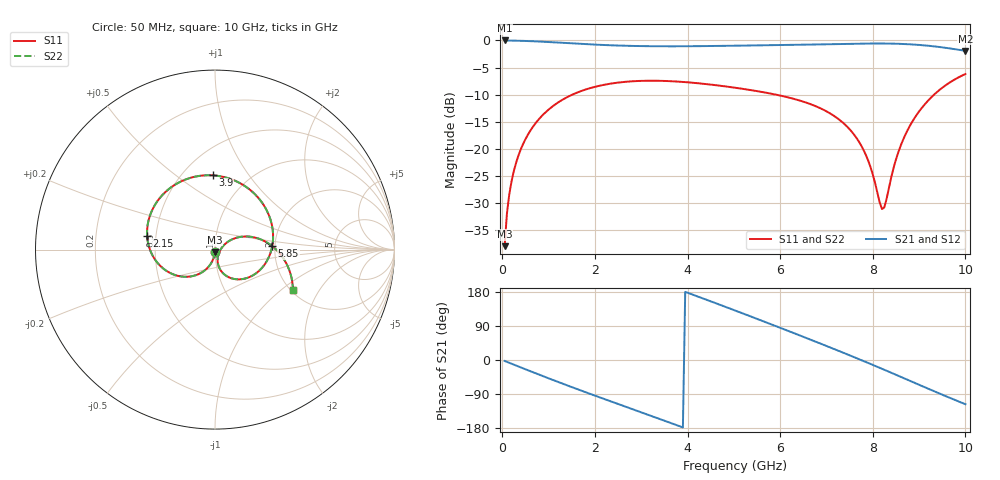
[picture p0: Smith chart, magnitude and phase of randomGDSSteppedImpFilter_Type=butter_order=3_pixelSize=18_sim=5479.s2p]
! freq	dB(S11)	phase(S11)	dB(S12)	phase(S12)
!  dB(S21)	phase(S21)	dB(S22)	phase(S22)
!S-par simulation data
#  GHz  S  DB  R 50
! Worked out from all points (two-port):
!   200 points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, 50 MHz to 10 GHz, reference 50 ohm
!   highest |S21| = 0.00 dB at 50 MHz (marker M1); lowest = -1.9 dB at 10 GHz (marker M2)
!   |S21| within 3 dB of the highest: start of sweep to end of sweep
!   lowest |S11| = -38.0 dB at 50 MHz (marker M3), VSWR 1.03, Z = 49.9 - j1.26 ohm
!   |S11| at or under -10 dB: start of sweep to 1.515 GHz; 5.902 GHz to 9.326 GHz (3.424 GHz wide, 45 % of centre)
!   |S22| runs from -38.0 to -6.2 dB; largest |S21 - S12| = 0
!   S11 on the Smith chart (normalised r, x): 50 MHz: 1.00, -0.03; 2.15 GHz: 0.45, +0.08; 3.9 GHz: 0.69, +0.69; 5.85 GHz: 1.93, +0.08; 10 GHz: 2.05, -1.21
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0.05  -38.00 -92.3  -0.00 -2.5  -0.00 -2.5  -38.00 -92.3
0.1  -31.99 -95.0  -0.01 -5.0  -0.01 -5.0  -31.99 -95.0
0.2  -26.01 -100.0  -0.03 -9.9  -0.03 -9.9  -26.01 -100.0
0.5  -18.24 -114.9  -0.10 -24.5  -0.10 -24.5  -18.24 -114.9
1.15  -11.77 -146.0  -0.36 -55.4  -0.36 -55.4  -11.77 -145.9
1.75  -9.20 -173.5  -0.66 -82.8  -0.66 -82.8  -9.20 -173.5
2.15  -8.28 168.6  -0.83 -100.7  -0.83 -100.7  -8.27 168.7
2.75  -7.58 142.2  -1.00 -127.1  -1.00 -127.1  -7.58 142.3
3.4  -7.46 113.7  -1.08 -155.7  -1.08 -155.7  -7.46 113.8
3.9  -7.67 91.6  -1.08 -178.0  -1.08 -178.0  -7.67 91.6
4.45  -8.11 66.9  -1.04 157.2  -1.04 157.2  -8.11 67.0
5.05  -8.76 39.8  -0.97 129.6  -0.97 129.6  -8.76 39.9
5.85  -9.91 3.4  -0.87 92.1  -0.87 92.1  -9.91 3.5
6.7  -11.91 -34.9  -0.75 51.6  -0.75 51.6  -11.91 -34.8
7.65  -18.03 -73.8  -0.60 4.9  -0.60 4.9  -18.03 -73.7
7.95  -23.37 -77.3  -0.57 -10.3  -0.57 -10.3  -23.37 -77.3
8.2  -31.15 -31.8  -0.57 -23.2  -0.57 -23.2  -31.18 -31.8
8.35  -27.18 20.1  -0.58 -31.0  -0.58 -31.0  -27.19 20.3
8.6  -19.50 31.1  -0.63 -44.2  -0.63 -44.2  -19.51 31.2
8.95  -13.72 20.5  -0.80 -62.7  -0.80 -62.7  -13.72 20.6
9.45  -9.08 -1.8  -1.22 -89.0  -1.22 -89.0  -9.08 -1.7
10  -6.21 -27.4  -1.92 -116.6  -1.92 -116.6  -6.21 -27.3
